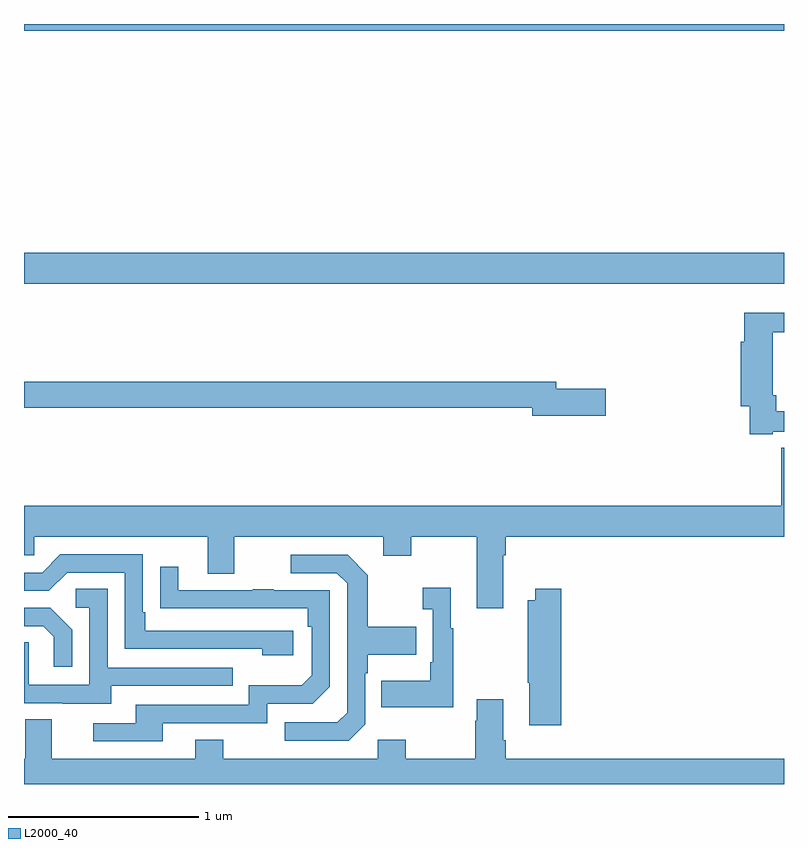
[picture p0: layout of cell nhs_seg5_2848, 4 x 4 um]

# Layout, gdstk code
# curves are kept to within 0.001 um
import gdstk
lib = gdstk.Library(unit=1e-6, precision=1e-09)
def R(c, l, rs):  # rectangles x0, y0, x1, y1
    for r in rs: c.add(gdstk.rectangle(r[:2], r[2:], *l))
def P(c, l, *ps):  # polygons
    for p in ps: c.add(gdstk.Polygon(p, *l))
L2000_40 = (2000, 40)

nhs_seg5_2848 = lib.new_cell('nhs_seg5_2848')
R(nhs_seg5_2848, L2000_40, [(277,851.432,281,851.596), (277,852.764,281,852.799)])
P(nhs_seg5_2848, L2000_40, [(280.942,850.653),(281,850.653),(281,850.762),(280.96,850.762),(280.96,850.846),(280.942,850.846),(280.942,851.176),(281,851.176),(281,851.278),(280.79,851.278),(280.79,851.127),(280.772,851.127),(280.772,850.787),(280.821,850.787),(280.821,850.641),(280.942,850.641)],
  [(280.063,850.88),(279.802,850.88),(279.802,850.916),(277,850.916),(277,850.78),(279.674,850.78),(279.674,850.738),(280.063,850.738)],
  [(279.523,850.004),(279.536,850.004),(279.536,850.1),(281,850.1),(281,850.568),(280.985,850.568),(280.985,850.264),(277,850.264),(277,850.002),(277.053,850.002),(277.053,850.1),(277.967,850.1),(277.967,849.906),(278.107,849.906),(278.107,850.1),(278.891,850.1),(278.891,850.001),(279.039,850.001),(279.039,850.1),(279.383,850.1),(279.383,849.723),(279.523,849.723)],
  [(278.416,849.606),(277.639,849.606),(277.639,849.703),(277.626,849.703),(277.626,850.008),(277.191,850.008),(277.095,849.912),(277,849.912),(277,849.816),(277.131,849.816),(277.227,849.912),(277.53,849.912),(277.53,849.51),(278.255,849.51),(278.255,849.476),(278.416,849.476)],
  [(278.796,849.114),(278.796,849.383),(278.809,849.383),(278.809,849.479),(279.065,849.479),(279.065,849.627),(278.809,849.627),(278.809,849.899),(278.703,850.005),(278.403,850.005),(278.403,849.909),(278.646,849.909),(278.7,849.855),(278.7,849.174),(278.649,849.123),(278.373,849.123),(278.373,849.027),(278.709,849.027)],
  [(277.729,849.12),(278.28,849.12),(278.28,849.222),(278.52,849.222),(278.61,849.312),(278.61,849.819),(278.315,849.819),(278.315,849.824),(278.203,849.824),(278.203,849.819),(277.813,849.819),(277.813,849.943),(277.717,849.943),(277.717,849.724),(278.494,849.723),(278.494,849.626),(278.514,849.626),(278.514,849.372),(278.461,849.319),(278.184,849.319),(278.184,849.216),(277.589,849.216),(277.589,849.12),(277.365,849.12),(277.365,849.024),(277.729,849.024)],
  [(279.259,849.619),(279.247,849.619),(279.247,849.832),(279.099,849.832),(279.099,849.719),(279.15,849.719),(279.15,849.439),(279.138,849.439),(279.138,849.343),(278.881,849.343),(278.881,849.203),(279.259,849.203)],
  [(277.459,849.315),(278.099,849.315),(278.099,849.411),(277.44,849.411),(277.44,849.827),(277.272,849.827),(277.272,849.726),(277.344,849.726),(277.344,849.321),(277.026,849.321),(277.026,849.545),(277,849.545),(277,849.225),(277.205,849.225),(277.205,849.221),(277.459,849.221)],
  [(279.827,849.826),(279.692,849.826),(279.692,849.766),(279.652,849.766),(279.652,849.331),(279.659,849.331),(279.659,849.108),(279.827,849.108)],
  [(277.254,849.61),(277.138,849.726),(277,849.726),(277,849.63),(277.1,849.63),(277.157,849.573),(277.157,849.417),(277.254,849.417)],
  [(281,848.932),(279.536,848.932),(279.536,849.028),(279.523,849.028),(279.523,849.244),(279.383,849.244),(279.383,849.131),(279.376,849.131),(279.376,848.932),(279.009,848.932),(279.009,849.031),(278.862,849.031),(278.862,848.932),(278.049,848.932),(278.049,849.031),(277.901,849.031),(277.901,848.932),(277.147,848.932),(277.147,849.14),(277.007,849.14),(277.007,848.932),(277,848.932),(277,848.799),(281,848.799)])

lib.write_gds('nhs_seg5_2848.gds')
